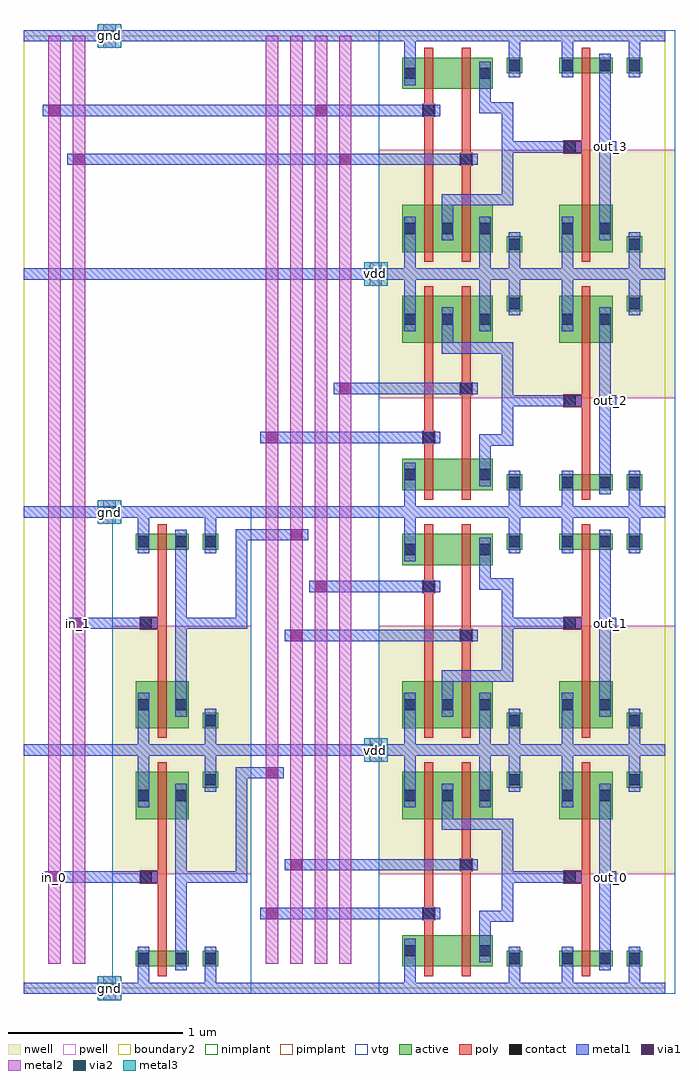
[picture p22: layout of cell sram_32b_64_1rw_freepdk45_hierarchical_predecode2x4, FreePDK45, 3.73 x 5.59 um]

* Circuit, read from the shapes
.subckt sram_32b_64_1rw_freepdk45_hierarchical_predecode2x4 gnd in_0 in_1 out_0 out_1 out_2 out_3 vdd
M1 sram_32b_64_1rw_freepdk45_and2_dec_2/A in_0 gnd gnd nfet w=0.09u l=0.05u
M2 sram_32b_64_1rw_freepdk45_and2_dec_2/B in_1 gnd gnd nfet w=0.09u l=0.05u
M3 sram_32b_64_1rw_freepdk45_and2_dec_2/sram_32b_64_1rw_freepdk45_pnand2_0/sram_32b_64_1rw_freepdk45_nmos_m1_w0_180_sm1_dactive_2/D sram_32b_64_1rw_freepdk45_and2_dec_2/A gnd gnd nfet w=0.18u l=0.05u
M4 sram_32b_64_1rw_freepdk45_and2_dec_3/sram_32b_64_1rw_freepdk45_pnand2_0/sram_32b_64_1rw_freepdk45_nmos_m1_w0_180_sm1_dactive_2/D in_0 gnd gnd nfet w=0.18u l=0.05u
M5 sram_32b_64_1rw_freepdk45_and2_dec_4/sram_32b_64_1rw_freepdk45_pnand2_0/sram_32b_64_1rw_freepdk45_nmos_m1_w0_180_sm1_dactive_2/D sram_32b_64_1rw_freepdk45_and2_dec_2/A gnd gnd nfet w=0.18u l=0.05u
M6 sram_32b_64_1rw_freepdk45_and2_dec_5/sram_32b_64_1rw_freepdk45_pnand2_0/sram_32b_64_1rw_freepdk45_nmos_m1_w0_180_sm1_dactive_2/D in_0 gnd gnd nfet w=0.18u l=0.05u
M7 sram_32b_64_1rw_freepdk45_and2_dec_2/sram_32b_64_1rw_freepdk45_pinv_1/A sram_32b_64_1rw_freepdk45_and2_dec_2/B sram_32b_64_1rw_freepdk45_and2_dec_2/sram_32b_64_1rw_freepdk45_pnand2_0/sram_32b_64_1rw_freepdk45_nmos_m1_w0_180_sm1_dactive_2/D gnd nfet w=0.18u l=0.05u
M8 sram_32b_64_1rw_freepdk45_and2_dec_3/sram_32b_64_1rw_freepdk45_pinv_1/A sram_32b_64_1rw_freepdk45_and2_dec_2/B sram_32b_64_1rw_freepdk45_and2_dec_3/sram_32b_64_1rw_freepdk45_pnand2_0/sram_32b_64_1rw_freepdk45_nmos_m1_w0_180_sm1_dactive_2/D gnd nfet w=0.18u l=0.05u
M9 sram_32b_64_1rw_freepdk45_and2_dec_4/sram_32b_64_1rw_freepdk45_pinv_1/A in_1 sram_32b_64_1rw_freepdk45_and2_dec_4/sram_32b_64_1rw_freepdk45_pnand2_0/sram_32b_64_1rw_freepdk45_nmos_m1_w0_180_sm1_dactive_2/D gnd nfet w=0.18u l=0.05u
M10 sram_32b_64_1rw_freepdk45_and2_dec_5/sram_32b_64_1rw_freepdk45_pinv_1/A in_1 sram_32b_64_1rw_freepdk45_and2_dec_5/sram_32b_64_1rw_freepdk45_pnand2_0/sram_32b_64_1rw_freepdk45_nmos_m1_w0_180_sm1_dactive_2/D gnd nfet w=0.18u l=0.05u
M11 out_0 sram_32b_64_1rw_freepdk45_and2_dec_2/sram_32b_64_1rw_freepdk45_pinv_1/A gnd gnd nfet w=0.09u l=0.05u
M12 out_1 sram_32b_64_1rw_freepdk45_and2_dec_3/sram_32b_64_1rw_freepdk45_pinv_1/A gnd gnd nfet w=0.09u l=0.05u
M13 out_2 sram_32b_64_1rw_freepdk45_and2_dec_4/sram_32b_64_1rw_freepdk45_pinv_1/A gnd gnd nfet w=0.09u l=0.05u
M14 out_3 sram_32b_64_1rw_freepdk45_and2_dec_5/sram_32b_64_1rw_freepdk45_pinv_1/A gnd gnd nfet w=0.09u l=0.05u
M15 sram_32b_64_1rw_freepdk45_and2_dec_2/A in_0 vdd vdd pfet w=0.27u l=0.05u
M16 sram_32b_64_1rw_freepdk45_and2_dec_2/B in_1 vdd vdd pfet w=0.27u l=0.05u
M17 sram_32b_64_1rw_freepdk45_and2_dec_2/sram_32b_64_1rw_freepdk45_pinv_1/A sram_32b_64_1rw_freepdk45_and2_dec_2/A vdd vdd pfet w=0.27u l=0.05u
M18 sram_32b_64_1rw_freepdk45_and2_dec_3/sram_32b_64_1rw_freepdk45_pinv_1/A in_0 vdd vdd pfet w=0.27u l=0.05u
M19 sram_32b_64_1rw_freepdk45_and2_dec_4/sram_32b_64_1rw_freepdk45_pinv_1/A sram_32b_64_1rw_freepdk45_and2_dec_2/A vdd vdd pfet w=0.27u l=0.05u
M20 sram_32b_64_1rw_freepdk45_and2_dec_5/sram_32b_64_1rw_freepdk45_pinv_1/A in_0 vdd vdd pfet w=0.27u l=0.05u
M21 vdd sram_32b_64_1rw_freepdk45_and2_dec_2/B sram_32b_64_1rw_freepdk45_and2_dec_2/sram_32b_64_1rw_freepdk45_pinv_1/A vdd pfet w=0.27u l=0.05u
M22 vdd sram_32b_64_1rw_freepdk45_and2_dec_2/B sram_32b_64_1rw_freepdk45_and2_dec_3/sram_32b_64_1rw_freepdk45_pinv_1/A vdd pfet w=0.27u l=0.05u
M23 vdd in_1 sram_32b_64_1rw_freepdk45_and2_dec_4/sram_32b_64_1rw_freepdk45_pinv_1/A vdd pfet w=0.27u l=0.05u
M24 vdd in_1 sram_32b_64_1rw_freepdk45_and2_dec_5/sram_32b_64_1rw_freepdk45_pinv_1/A vdd pfet w=0.27u l=0.05u
M25 out_0 sram_32b_64_1rw_freepdk45_and2_dec_2/sram_32b_64_1rw_freepdk45_pinv_1/A vdd vdd pfet w=0.27u l=0.05u
M26 out_1 sram_32b_64_1rw_freepdk45_and2_dec_3/sram_32b_64_1rw_freepdk45_pinv_1/A vdd vdd pfet w=0.27u l=0.05u
M27 out_2 sram_32b_64_1rw_freepdk45_and2_dec_4/sram_32b_64_1rw_freepdk45_pinv_1/A vdd vdd pfet w=0.27u l=0.05u
M28 out_3 sram_32b_64_1rw_freepdk45_and2_dec_5/sram_32b_64_1rw_freepdk45_pinv_1/A vdd vdd pfet w=0.27u l=0.05u
.ends

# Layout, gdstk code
import gdstk
lib = gdstk.Library(unit=1e-6, precision=5e-10)
def R(c, l, rs):  # rectangles x0, y0, x1, y1
    for r in rs: c.add(gdstk.rectangle(r[:2], r[2:], *l))
def A(c, l, x, y, w, h, nx, ny, dx, dy):  # array of equal rectangles
    R(c, l, [(x+i*dx, y+j*dy, x+i*dx+w, y+j*dy+h) for i in range(nx) for j in range(ny)])
active = (1, 0)
pwell = (2, 0)
nwell = (3, 0)
nimplant = (4, 0)
pimplant = (5, 0)
vtg = (6, 0)
poly = (9, 0)
contact = (10, 0)
metal1 = (11, 0)
via1 = (12, 0)
metal2 = (13, 0)
via2 = (14, 0)
metal3 = (15, 0)
boundary2 = (239, 0)

sram_32b_64_1rw_freepdk4 = lib.new_cell('sram_32b_64_1rw_freepdk45_contact_11')
R(sram_32b_64_1rw_freepdk4, active, [(0,0.0225,0.09,0.1125)])
R(sram_32b_64_1rw_freepdk4, nwell, [(-0.055,-0.0325,0.145,0.1675)])
R(sram_32b_64_1rw_freepdk4, pimplant, [(0,0.0225,0.09,0.1125)])
R(sram_32b_64_1rw_freepdk4, contact, [(0.0125,0.035,0.0775,0.1)])
R(sram_32b_64_1rw_freepdk4, metal1, [(0.0125,0,0.0775,0.135)])
R(sram_32b_64_1rw_freepdk4, boundary2, [(-0.055,-0.0325,0.145,0.1675)])

c_sram_32b_64_1rw_freepdk4 = lib.new_cell('sram_32b_64_1rw_freepdk45_pmos_m1_w0_270_sm1_dm1_da_p')
R(c_sram_32b_64_1rw_freepdk4, active, [(0,0,0.305,0.27)])
R(c_sram_32b_64_1rw_freepdk4, nwell, [(-0.08,-0.08,0.385,0.35)])
R(c_sram_32b_64_1rw_freepdk4, pimplant, [(0,0,0.305,0.27)])
R(c_sram_32b_64_1rw_freepdk4, vtg, [(-0.08,-0.08,0.385,0.35)])
R(c_sram_32b_64_1rw_freepdk4, poly, [(0.1275,-0.055,0.1775,0.325), (0.1275,-0.055,0.1775,0.325)])
R(c_sram_32b_64_1rw_freepdk4, metal1, [(0.0125,0.0675,0.0775,0.2025), (0.2275,0.0675,0.2925,0.2025)])
R(c_sram_32b_64_1rw_freepdk4, boundary2, [(-0.08,-0.08,0.385,0.35)])
c_sram_32b_64_1rw_freepdk4.add(gdstk.Reference(sram_32b_64_1rw_freepdk4, (0,0.0675)))
c_sram_32b_64_1rw_freepdk4.add(gdstk.Reference(sram_32b_64_1rw_freepdk4, (0.215,0.0675)))
c_sram_32b_64_1rw_freepdk4.add(gdstk.Label('G', (0.1525,0.135), layer=9, texttype=0))
c_sram_32b_64_1rw_freepdk4.add(gdstk.Label('S', (0.045,0.135), layer=11, texttype=0))
c_sram_32b_64_1rw_freepdk4.add(gdstk.Label('D', (0.26,0.135), layer=11, texttype=0))

c_sram_32b_64_1rw_freepdk4_ = lib.new_cell('sram_32b_64_1rw_freepdk45_contact_10')
R(c_sram_32b_64_1rw_freepdk4_, active, [(0,0.0225,0.09,0.1125)])
R(c_sram_32b_64_1rw_freepdk4_, pwell, [(-0.055,-0.0325,0.145,0.1675)])
R(c_sram_32b_64_1rw_freepdk4_, nimplant, [(0,0.0225,0.09,0.1125)])
R(c_sram_32b_64_1rw_freepdk4_, contact, [(0.0125,0.035,0.0775,0.1)])
R(c_sram_32b_64_1rw_freepdk4_, metal1, [(0.0125,0,0.0775,0.135)])
R(c_sram_32b_64_1rw_freepdk4_, boundary2, [(-0.055,-0.0325,0.145,0.1675)])

c_sram_32b_64_1rw_freepdk4__ = lib.new_cell('sram_32b_64_1rw_freepdk45_nmos_m1_w0_090_sm1_dm1_da_p')
R(c_sram_32b_64_1rw_freepdk4__, active, [(0,0,0.305,0.09)])
R(c_sram_32b_64_1rw_freepdk4__, pwell, [(-0.08,-0.08,0.385,0.17)])
R(c_sram_32b_64_1rw_freepdk4__, nimplant, [(0,0,0.305,0.09)])
R(c_sram_32b_64_1rw_freepdk4__, vtg, [(-0.08,-0.08,0.385,0.17)])
R(c_sram_32b_64_1rw_freepdk4__, poly, [(0.1275,-0.055,0.1775,0.145), (0.1275,-0.055,0.1775,0.145)])
R(c_sram_32b_64_1rw_freepdk4__, metal1, [(0.0125,-0.0225,0.0775,0.1125), (0.2275,-0.0225,0.2925,0.1125)])
R(c_sram_32b_64_1rw_freepdk4__, boundary2, [(-0.08,-0.08,0.385,0.17)])
c_sram_32b_64_1rw_freepdk4__.add(gdstk.Reference(c_sram_32b_64_1rw_freepdk4_, (0,-0.0225)))
c_sram_32b_64_1rw_freepdk4__.add(gdstk.Reference(c_sram_32b_64_1rw_freepdk4_, (0.215,-0.0225)))
c_sram_32b_64_1rw_freepdk4__.add(gdstk.Label('G', (0.1525,0.045), layer=9, texttype=0))
c_sram_32b_64_1rw_freepdk4__.add(gdstk.Label('S', (0.045,0.045), layer=11, texttype=0))
c_sram_32b_64_1rw_freepdk4__.add(gdstk.Label('D', (0.26,0.045), layer=11, texttype=0))

c_sram_32b_64_1rw_freepdk4___ = lib.new_cell('sram_32b_64_1rw_freepdk45_contact_12')
R(c_sram_32b_64_1rw_freepdk4___, active, [(0,0.0225,0.09,0.1125)])
R(c_sram_32b_64_1rw_freepdk4___, nwell, [(-0.055,-0.0325,0.145,0.1675)])
R(c_sram_32b_64_1rw_freepdk4___, nimplant, [(0,0.0225,0.09,0.1125)])
R(c_sram_32b_64_1rw_freepdk4___, contact, [(0.0125,0.035,0.0775,0.1)])
R(c_sram_32b_64_1rw_freepdk4___, metal1, [(0.0125,0,0.0775,0.135)])
R(c_sram_32b_64_1rw_freepdk4___, boundary2, [(-0.055,-0.0325,0.145,0.1675)])

c_sram_32b_64_1rw_freepdk4____ = lib.new_cell('sram_32b_64_1rw_freepdk45_contact_13')
R(c_sram_32b_64_1rw_freepdk4____, active, [(0,0.0225,0.09,0.1125)])
R(c_sram_32b_64_1rw_freepdk4____, pwell, [(-0.055,-0.0325,0.145,0.1675)])
R(c_sram_32b_64_1rw_freepdk4____, pimplant, [(0,0.0225,0.09,0.1125)])
R(c_sram_32b_64_1rw_freepdk4____, contact, [(0.0125,0.035,0.0775,0.1)])
R(c_sram_32b_64_1rw_freepdk4____, metal1, [(0.0125,0,0.0775,0.135)])
R(c_sram_32b_64_1rw_freepdk4____, boundary2, [(-0.055,-0.0325,0.145,0.1675)])

c_sram_32b_64_1rw_freepdk4_____ = lib.new_cell('sram_32b_64_1rw_freepdk45_contact_14')
R(c_sram_32b_64_1rw_freepdk4_____, poly, [(0.03,0,0.105,0.075)])
R(c_sram_32b_64_1rw_freepdk4_____, contact, [(0.035,0.005,0.1,0.07)])
R(c_sram_32b_64_1rw_freepdk4_____, metal1, [(0,0.005,0.135,0.07)])
R(c_sram_32b_64_1rw_freepdk4_____, boundary2, [(0,0,0.135,0.075)])

c_sram_32b_64_1rw_freepdk4______ = lib.new_cell('sram_32b_64_1rw_freepdk45_pinv')
R(c_sram_32b_64_1rw_freepdk4______, pwell, [(-0.055,-0.0325,0.7425,0.655)])
R(c_sram_32b_64_1rw_freepdk4______, nwell, [(-0.055,0.655,0.7425,1.4)])
R(c_sram_32b_64_1rw_freepdk4______, vtg, [(-0.055,-0.0325,0.7425,0.655), (-0.055,0.655,0.7425,1.4)])
R(c_sram_32b_64_1rw_freepdk4______, poly, [(0.2075,0.27,0.2575,0.915), (0.14,0.6,0.2075,0.675)])
R(c_sram_32b_64_1rw_freepdk4______, metal1, [(0,-0.0325,0.6875,0.0325), (0.0925,-0.0325,0.1575,0.1025), (0.4775,0,0.5425,0.17), (0.3075,0.1025,0.3725,1.1725), (0.0725,0.605,0.2075,0.67), (0.34,0.605,0.405,0.67), (0.0925,1.0375,0.1575,1.3975), (0.4775,1.195,0.5425,1.365), (0,1.3325,0.6875,1.3975)])
R(c_sram_32b_64_1rw_freepdk4______, boundary2, [(0,0,0.6875,1.365), (0,0,0.6875,1.365)])
c_sram_32b_64_1rw_freepdk4______.add(gdstk.Reference(c_sram_32b_64_1rw_freepdk4, (0.08,0.97)))
c_sram_32b_64_1rw_freepdk4______.add(gdstk.Reference(c_sram_32b_64_1rw_freepdk4__, (0.08,0.125)))
c_sram_32b_64_1rw_freepdk4______.add(gdstk.Reference(c_sram_32b_64_1rw_freepdk4___, (0.465,1.1275)))
c_sram_32b_64_1rw_freepdk4______.add(gdstk.Reference(c_sram_32b_64_1rw_freepdk4____, (0.465,0.1025)))
c_sram_32b_64_1rw_freepdk4______.add(gdstk.Reference(c_sram_32b_64_1rw_freepdk4_____, (0.0725,0.6)))
c_sram_32b_64_1rw_freepdk4______.add(gdstk.Label('A', (0.14,0.6375), layer=11, texttype=0))
c_sram_32b_64_1rw_freepdk4______.add(gdstk.Label('Z', (0.3725,0.6375), layer=11, texttype=0))
c_sram_32b_64_1rw_freepdk4______.add(gdstk.Label('gnd', (0.344,0), layer=11, texttype=0))
c_sram_32b_64_1rw_freepdk4______.add(gdstk.Label('vdd', (0.344,1.365), layer=11, texttype=0))

c_sram_32b_64_1rw_freepdk4_______ = lib.new_cell('sram_32b_64_1rw_freepdk45_pmos_m1_w0_270_sm1_dm1')
R(c_sram_32b_64_1rw_freepdk4_______, active, [(0,0,0.305,0.27)])
R(c_sram_32b_64_1rw_freepdk4_______, nwell, [(-0.08,-0.08,0.385,0.35)])
R(c_sram_32b_64_1rw_freepdk4_______, pimplant, [(0,0,0.305,0.27)])
R(c_sram_32b_64_1rw_freepdk4_______, vtg, [(-0.08,-0.08,0.385,0.35)])
R(c_sram_32b_64_1rw_freepdk4_______, poly, [(0.1275,-0.055,0.1775,0.325), (0.1275,-0.055,0.1775,0.325)])
R(c_sram_32b_64_1rw_freepdk4_______, metal1, [(0.0125,0.0675,0.0775,0.2025), (0.2275,0.0675,0.2925,0.2025)])
R(c_sram_32b_64_1rw_freepdk4_______, boundary2, [(-0.08,-0.08,0.385,0.35)])
c_sram_32b_64_1rw_freepdk4_______.add(gdstk.Reference(sram_32b_64_1rw_freepdk4, (0,0.0675)))
c_sram_32b_64_1rw_freepdk4_______.add(gdstk.Reference(sram_32b_64_1rw_freepdk4, (0.215,0.0675)))
c_sram_32b_64_1rw_freepdk4_______.add(gdstk.Label('G', (0.1525,0.135), layer=9, texttype=0))
c_sram_32b_64_1rw_freepdk4_______.add(gdstk.Label('S', (0.045,0.135), layer=11, texttype=0))
c_sram_32b_64_1rw_freepdk4_______.add(gdstk.Label('D', (0.26,0.135), layer=11, texttype=0))

c_sram_32b_64_1rw_freepdk4________ = lib.new_cell('sram_32b_64_1rw_freepdk45_nmos_m1_w0_180_sm1_dactive')
R(c_sram_32b_64_1rw_freepdk4________, active, [(0,0,0.305,0.18), (0.215,0.045,0.305,0.135)])
R(c_sram_32b_64_1rw_freepdk4________, pwell, [(-0.08,-0.08,0.385,0.26)])
R(c_sram_32b_64_1rw_freepdk4________, nimplant, [(0,0,0.305,0.18)])
R(c_sram_32b_64_1rw_freepdk4________, vtg, [(-0.08,-0.08,0.385,0.26)])
R(c_sram_32b_64_1rw_freepdk4________, poly, [(0.1275,-0.055,0.1775,0.235), (0.1275,-0.055,0.1775,0.235)])
R(c_sram_32b_64_1rw_freepdk4________, metal1, [(0.0125,0.0225,0.0775,0.1575)])
R(c_sram_32b_64_1rw_freepdk4________, boundary2, [(-0.08,-0.08,0.385,0.26)])
c_sram_32b_64_1rw_freepdk4________.add(gdstk.Reference(c_sram_32b_64_1rw_freepdk4_, (0,0.0225)))
c_sram_32b_64_1rw_freepdk4________.add(gdstk.Label('G', (0.1525,0.09), layer=9, texttype=0))
c_sram_32b_64_1rw_freepdk4________.add(gdstk.Label('S', (0.045,0.09), layer=11, texttype=0))
c_sram_32b_64_1rw_freepdk4________.add(gdstk.Label('D', (0.26,0.09), layer=1, texttype=0))

c_sram_32b_64_1rw_freepdk4_________ = lib.new_cell('sram_32b_64_1rw_freepdk45_nmos_m1_w0_180_sactive_dm1')
R(c_sram_32b_64_1rw_freepdk4_________, active, [(0,0,0.305,0.18), (0,0.045,0.09,0.135)])
R(c_sram_32b_64_1rw_freepdk4_________, pwell, [(-0.08,-0.08,0.385,0.26)])
R(c_sram_32b_64_1rw_freepdk4_________, nimplant, [(0,0,0.305,0.18)])
R(c_sram_32b_64_1rw_freepdk4_________, vtg, [(-0.08,-0.08,0.385,0.26)])
R(c_sram_32b_64_1rw_freepdk4_________, poly, [(0.1275,-0.055,0.1775,0.235), (0.1275,-0.055,0.1775,0.235)])
R(c_sram_32b_64_1rw_freepdk4_________, metal1, [(0.2275,0.0225,0.2925,0.1575)])
R(c_sram_32b_64_1rw_freepdk4_________, boundary2, [(-0.08,-0.08,0.385,0.26)])
c_sram_32b_64_1rw_freepdk4_________.add(gdstk.Reference(c_sram_32b_64_1rw_freepdk4_, (0.215,0.0225)))
c_sram_32b_64_1rw_freepdk4_________.add(gdstk.Label('G', (0.1525,0.09), layer=9, texttype=0))
c_sram_32b_64_1rw_freepdk4_________.add(gdstk.Label('S', (0.045,0.09), layer=1, texttype=0))
c_sram_32b_64_1rw_freepdk4_________.add(gdstk.Label('D', (0.26,0.09), layer=11, texttype=0))

c_sram_32b_64_1rw_freepdk4__________ = lib.new_cell('sram_32b_64_1rw_freepdk45_pnand2')
R(c_sram_32b_64_1rw_freepdk4__________, pwell, [(-0.055,-0.0325,0.9575,0.655)])
R(c_sram_32b_64_1rw_freepdk4__________, nwell, [(-0.055,0.655,0.9575,1.4)])
R(c_sram_32b_64_1rw_freepdk4__________, vtg, [(-0.055,-0.0325,0.9575,0.655), (-0.055,0.655,0.9575,1.4)])
R(c_sram_32b_64_1rw_freepdk4__________, poly, [(0.2075,0.36,0.2575,0.915), (0.4225,0.36,0.4725,0.915), (0.2075,0.39,0.2325,0.465), (0.4225,0.67,0.4475,0.745)])
R(c_sram_32b_64_1rw_freepdk4__________, metal1, [(0,-0.0325,0.9025,0.0325), (0.0925,-0.0325,0.1575,0.1475), (0.6925,0,0.7575,0.17), (0.5225,0.2825,0.5875,0.4125), (0.5225,0.38,0.5875,0.445), (0.555,0.38,0.685,0.445), (0.6525,0.38,0.7175,0.445), (0.165,0.395,0.3,0.46), (0.6525,0.4125,0.7175,0.94), (0.38,0.675,0.515,0.74), (0.3075,0.9075,0.3725,0.9725), (0.34,0.9075,0.685,0.9725), (0.6525,0.9075,0.7175,0.9725), (0.3075,0.94,0.3725,1.0375), (0.0925,1.0375,0.1575,1.3975), (0.5225,1.0375,0.5875,1.3975), (0.6925,1.195,0.7575,1.365), (0,1.3325,0.9025,1.3975)])
R(c_sram_32b_64_1rw_freepdk4__________, boundary2, [(0,0,0.9025,1.365), (0,0,0.9025,1.365)])
c_sram_32b_64_1rw_freepdk4__________.add(gdstk.Reference(c_sram_32b_64_1rw_freepdk4_______, (0.08,0.97)))
c_sram_32b_64_1rw_freepdk4__________.add(gdstk.Reference(c_sram_32b_64_1rw_freepdk4_______, (0.295,0.97)))
c_sram_32b_64_1rw_freepdk4__________.add(gdstk.Reference(c_sram_32b_64_1rw_freepdk4________, (0.08,0.125)))
c_sram_32b_64_1rw_freepdk4__________.add(gdstk.Reference(c_sram_32b_64_1rw_freepdk4_________, (0.295,0.125)))
c_sram_32b_64_1rw_freepdk4__________.add(gdstk.Reference(c_sram_32b_64_1rw_freepdk4___, (0.68,1.1275)))
c_sram_32b_64_1rw_freepdk4__________.add(gdstk.Reference(c_sram_32b_64_1rw_freepdk4____, (0.68,0.1025)))
c_sram_32b_64_1rw_freepdk4__________.add(gdstk.Reference(c_sram_32b_64_1rw_freepdk4_____, (0.165,0.39)))
c_sram_32b_64_1rw_freepdk4__________.add(gdstk.Reference(c_sram_32b_64_1rw_freepdk4_____, (0.38,0.67)))
c_sram_32b_64_1rw_freepdk4__________.add(gdstk.Label('Z', (0.685,0.94), layer=11, texttype=0))
c_sram_32b_64_1rw_freepdk4__________.add(gdstk.Label('gnd', (0.451,0), layer=11, texttype=0))
c_sram_32b_64_1rw_freepdk4__________.add(gdstk.Label('vdd', (0.451,1.365), layer=11, texttype=0))
c_sram_32b_64_1rw_freepdk4__________.add(gdstk.Label('A', (0.2325,0.4275), layer=11, texttype=0))
c_sram_32b_64_1rw_freepdk4__________.add(gdstk.Label('B', (0.4475,0.7075), layer=11, texttype=0))

c_sram_32b_64_1rw_freepdk4___________ = lib.new_cell('sram_32b_64_1rw_freepdk45_and2_dec')
R(c_sram_32b_64_1rw_freepdk4___________, metal1, [(0,-0.0325,1.59,0.0325), (0.165,0.395,0.3,0.46), (0.6525,0.605,0.7175,0.67), (0.685,0.605,1.0425,0.67), (1.2425,0.605,1.3075,0.67), (0.6525,0.6375,0.7175,0.94), (0.38,0.675,0.515,0.74), (0,1.3325,1.59,1.3975)])
R(c_sram_32b_64_1rw_freepdk4___________, boundary2, [(0,0,1.59,1.365)])
c_sram_32b_64_1rw_freepdk4___________.add(gdstk.Reference(c_sram_32b_64_1rw_freepdk4__________, (0,0)))
c_sram_32b_64_1rw_freepdk4___________.add(gdstk.Reference(c_sram_32b_64_1rw_freepdk4______, (0.9025,0)))
c_sram_32b_64_1rw_freepdk4___________.add(gdstk.Label('Z', (1.275,0.6375), layer=11, texttype=0))
c_sram_32b_64_1rw_freepdk4___________.add(gdstk.Label('A', (0.2325,0.4275), layer=11, texttype=0))
c_sram_32b_64_1rw_freepdk4___________.add(gdstk.Label('B', (0.4475,0.7075), layer=11, texttype=0))
c_sram_32b_64_1rw_freepdk4___________.add(gdstk.Label('gnd', (0.795,0), layer=11, texttype=0))
c_sram_32b_64_1rw_freepdk4___________.add(gdstk.Label('vdd', (0.795,1.365), layer=11, texttype=0))

c_sram_32b_64_1rw_freepdk4____________ = lib.new_cell('sram_32b_64_1rw_freepdk45_contact_15')
R(c_sram_32b_64_1rw_freepdk4____________, metal1, [(0,0.035,0.135,0.1)])
R(c_sram_32b_64_1rw_freepdk4____________, via1, [(0.035,0.035,0.1,0.1)])
R(c_sram_32b_64_1rw_freepdk4____________, metal2, [(0.0325,0,0.1025,0.135)])
R(c_sram_32b_64_1rw_freepdk4____________, boundary2, [(0,0,0.135,0.135)])

c_sram_32b_64_1rw_freepdk4_____________ = lib.new_cell('sram_32b_64_1rw_freepdk45_contact_17')
R(c_sram_32b_64_1rw_freepdk4_____________, metal1, [(0,0.035,0.135,0.1)])
R(c_sram_32b_64_1rw_freepdk4_____________, via1, [(0.035,0.035,0.1,0.1)])
R(c_sram_32b_64_1rw_freepdk4_____________, metal2, [(0.0325,0,0.1025,0.135)])
R(c_sram_32b_64_1rw_freepdk4_____________, boundary2, [(0,0,0.135,0.135)])

c_sram_32b_64_1rw_freepdk4______________ = lib.new_cell('sram_32b_64_1rw_freepdk45_contact_18')
R(c_sram_32b_64_1rw_freepdk4______________, metal2, [(0.0325,0,0.1025,0.135)])
R(c_sram_32b_64_1rw_freepdk4______________, via2, [(0.035,0.035,0.1,0.1)])
R(c_sram_32b_64_1rw_freepdk4______________, metal3, [(0,0.0325,0.135,0.1025)])
R(c_sram_32b_64_1rw_freepdk4______________, boundary2, [(0,0,0.135,0.135)])

c_sram_32b_64_1rw_freepdk4_______________ = lib.new_cell('sram_32b_64_1rw_freepdk45_hierarchical_predecode2x4')
R(c_sram_32b_64_1rw_freepdk4_______________, metal1, [(0,-0.0325,3.6775,0.0325), (1.4225,0.395,2.32,0.46), (2.2875,0.395,2.3525,0.46), (0.175,0.605,0.7,0.67), (0.6675,0.605,0.7325,0.67), (0.9325,0.605,0.9975,0.67), (0.965,0.605,1.2475,0.67), (1.215,0.605,1.28,0.67), (3.33,0.605,3.395,0.67), (1.215,0.6375,1.28,1.235), (1.5625,0.675,2.535,0.74), (2.5025,0.675,2.5675,0.74), (1.215,1.2025,1.28,1.2675), (1.2475,1.2025,1.4225,1.2675), (0,1.3325,3.6775,1.3975), (0,1.3325,3.6775,1.3975), (1.5625,1.99,2.535,2.055), (2.5025,1.99,2.5675,2.055), (0.315,2.06,0.7,2.125), (0.6675,2.06,0.7325,2.125), (0.9325,2.06,0.9975,2.125), (0.965,2.06,1.2475,2.125), (1.215,2.06,1.28,2.125), (3.33,2.06,3.395,2.125), (1.215,2.0925,1.28,2.6), (1.7025,2.27,2.32,2.335), (2.2875,2.27,2.3525,2.335), (1.215,2.5675,1.28,2.6325), (1.2475,2.5675,1.5625,2.6325), (0,2.6975,3.6775,2.7625), (0,2.6975,3.6775,2.7625), (1.4225,3.125,2.32,3.19), (2.2875,3.125,2.3525,3.19), (3.33,3.335,3.395,3.4), (1.8425,3.405,2.535,3.47), (2.5025,3.405,2.5675,3.47), (0,4.0625,3.6775,4.1275), (0,4.0625,3.6775,4.1275), (0.315,4.72,1.8425,4.785), (1.8425,4.72,2.535,4.785), (2.5025,4.72,2.5675,4.785), (3.33,4.79,3.395,4.855), (0.175,5,1.7025,5.065), (1.7025,5,2.32,5.065), (2.2875,5,2.3525,5.065), (0,5.4275,3.6775,5.4925)])
A(c_sram_32b_64_1rw_freepdk4_______________, metal2, 1.3875, 0.14, 0.07, 5.32, 4, 1, 0.14, 0)
R(c_sram_32b_64_1rw_freepdk4_______________, metal2, [(0.14,0.14,0.21,5.46), (0.28,0.14,0.35,5.46), (0.14,0.57,0.21,0.705), (0.28,2.025,0.35,2.16)])
A(c_sram_32b_64_1rw_freepdk4_______________, metal3, 0.4225, -0.0675, 0.135, 0.135, 1, 3, 0, 2.73)
R(c_sram_32b_64_1rw_freepdk4_______________, metal3, [(1.95,1.2975,2.085,1.4325), (1.95,4.0275,2.085,4.1625)])
R(c_sram_32b_64_1rw_freepdk4_______________, boundary2, [(0,0,3.6775,5.46)])
c_sram_32b_64_1rw_freepdk4_______________.add(gdstk.Reference(c_sram_32b_64_1rw_freepdk4______, (0.56,0)))
c_sram_32b_64_1rw_freepdk4_______________.add(gdstk.Reference(c_sram_32b_64_1rw_freepdk4______, (0.56,2.73), x_reflection=True))
c_sram_32b_64_1rw_freepdk4_______________.add(gdstk.Reference(c_sram_32b_64_1rw_freepdk4___________, (2.0875,0)))
c_sram_32b_64_1rw_freepdk4_______________.add(gdstk.Reference(c_sram_32b_64_1rw_freepdk4___________, (2.0875,2.73), x_reflection=True))
c_sram_32b_64_1rw_freepdk4_______________.add(gdstk.Reference(c_sram_32b_64_1rw_freepdk4___________, (2.0875,2.73)))
c_sram_32b_64_1rw_freepdk4_______________.add(gdstk.Reference(c_sram_32b_64_1rw_freepdk4___________, (2.0875,5.46), x_reflection=True))
c_sram_32b_64_1rw_freepdk4_______________.add(gdstk.Reference(c_sram_32b_64_1rw_freepdk4____________, (0.1075,0.57)))
c_sram_32b_64_1rw_freepdk4_______________.add(gdstk.Reference(c_sram_32b_64_1rw_freepdk4____________, (0.2475,2.025)))
c_sram_32b_64_1rw_freepdk4_______________.add(gdstk.Reference(c_sram_32b_64_1rw_freepdk4____________, (1.355,0.36)))
c_sram_32b_64_1rw_freepdk4_______________.add(gdstk.Reference(c_sram_32b_64_1rw_freepdk4____________, (1.495,0.64)))
c_sram_32b_64_1rw_freepdk4_______________.add(gdstk.Reference(c_sram_32b_64_1rw_freepdk4____________, (1.635,2.235)))
c_sram_32b_64_1rw_freepdk4_______________.add(gdstk.Reference(c_sram_32b_64_1rw_freepdk4____________, (1.495,1.955)))
c_sram_32b_64_1rw_freepdk4_______________.add(gdstk.Reference(c_sram_32b_64_1rw_freepdk4____________, (1.355,3.09)))
c_sram_32b_64_1rw_freepdk4_______________.add(gdstk.Reference(c_sram_32b_64_1rw_freepdk4____________, (1.775,3.37)))
c_sram_32b_64_1rw_freepdk4_______________.add(gdstk.Reference(c_sram_32b_64_1rw_freepdk4____________, (1.635,4.965)))
c_sram_32b_64_1rw_freepdk4_______________.add(gdstk.Reference(c_sram_32b_64_1rw_freepdk4____________, (1.775,4.685)))
c_sram_32b_64_1rw_freepdk4_______________.add(gdstk.Reference(c_sram_32b_64_1rw_freepdk4____________, (1.355,1.1675)))
c_sram_32b_64_1rw_freepdk4_______________.add(gdstk.Reference(c_sram_32b_64_1rw_freepdk4____________, (1.495,2.5325)))
c_sram_32b_64_1rw_freepdk4_______________.add(gdstk.Reference(c_sram_32b_64_1rw_freepdk4_____________, (0.1075,4.965)))
c_sram_32b_64_1rw_freepdk4_______________.add(gdstk.Reference(c_sram_32b_64_1rw_freepdk4_____________, (1.635,4.965)))
c_sram_32b_64_1rw_freepdk4_______________.add(gdstk.Reference(c_sram_32b_64_1rw_freepdk4_____________, (0.2475,4.685)))
c_sram_32b_64_1rw_freepdk4_______________.add(gdstk.Reference(c_sram_32b_64_1rw_freepdk4_____________, (1.775,4.685)))
c_sram_32b_64_1rw_freepdk4_______________.add(gdstk.Reference(c_sram_32b_64_1rw_freepdk4_____________, (1.95,1.2975)))
c_sram_32b_64_1rw_freepdk4_______________.add(gdstk.Reference(c_sram_32b_64_1rw_freepdk4______________, (1.95,1.2975)))
c_sram_32b_64_1rw_freepdk4_______________.add(gdstk.Reference(c_sram_32b_64_1rw_freepdk4_____________, (0.4225,-0.0675)))
c_sram_32b_64_1rw_freepdk4_______________.add(gdstk.Reference(c_sram_32b_64_1rw_freepdk4______________, (0.4225,-0.0675)))
c_sram_32b_64_1rw_freepdk4_______________.add(gdstk.Reference(c_sram_32b_64_1rw_freepdk4_____________, (1.95,1.2975)))
c_sram_32b_64_1rw_freepdk4_______________.add(gdstk.Reference(c_sram_32b_64_1rw_freepdk4______________, (1.95,1.2975)))
c_sram_32b_64_1rw_freepdk4_______________.add(gdstk.Reference(c_sram_32b_64_1rw_freepdk4_____________, (0.4225,2.6625)))
c_sram_32b_64_1rw_freepdk4_______________.add(gdstk.Reference(c_sram_32b_64_1rw_freepdk4______________, (0.4225,2.6625)))
c_sram_32b_64_1rw_freepdk4_______________.add(gdstk.Reference(c_sram_32b_64_1rw_freepdk4_____________, (1.95,4.0275)))
c_sram_32b_64_1rw_freepdk4_______________.add(gdstk.Reference(c_sram_32b_64_1rw_freepdk4______________, (1.95,4.0275)))
c_sram_32b_64_1rw_freepdk4_______________.add(gdstk.Reference(c_sram_32b_64_1rw_freepdk4_____________, (0.4225,2.6625)))
c_sram_32b_64_1rw_freepdk4_______________.add(gdstk.Reference(c_sram_32b_64_1rw_freepdk4______________, (0.4225,2.6625)))
c_sram_32b_64_1rw_freepdk4_______________.add(gdstk.Reference(c_sram_32b_64_1rw_freepdk4_____________, (1.95,4.0275)))
c_sram_32b_64_1rw_freepdk4_______________.add(gdstk.Reference(c_sram_32b_64_1rw_freepdk4______________, (1.95,4.0275)))
c_sram_32b_64_1rw_freepdk4_______________.add(gdstk.Reference(c_sram_32b_64_1rw_freepdk4_____________, (0.4225,5.3925)))
c_sram_32b_64_1rw_freepdk4_______________.add(gdstk.Reference(c_sram_32b_64_1rw_freepdk4______________, (0.4225,5.3925)))
c_sram_32b_64_1rw_freepdk4_______________.add(gdstk.Label('in_0', (0.175,0.6375), layer=13, texttype=0))
c_sram_32b_64_1rw_freepdk4_______________.add(gdstk.Label('in_1', (0.315,2.0925), layer=13, texttype=0))
c_sram_32b_64_1rw_freepdk4_______________.add(gdstk.Label('out_0', (3.3625,0.6375), layer=11, texttype=0))
c_sram_32b_64_1rw_freepdk4_______________.add(gdstk.Label('out_1', (3.3625,2.0925), layer=11, texttype=0))
c_sram_32b_64_1rw_freepdk4_______________.add(gdstk.Label('out_2', (3.3625,3.3675), layer=11, texttype=0))
c_sram_32b_64_1rw_freepdk4_______________.add(gdstk.Label('out_3', (3.3625,4.8225), layer=11, texttype=0))
c_sram_32b_64_1rw_freepdk4_______________.add(gdstk.Label('vdd', (2.0175,1.365), layer=15, texttype=0))
c_sram_32b_64_1rw_freepdk4_______________.add(gdstk.Label('vdd', (2.0175,4.095), layer=15, texttype=0))
c_sram_32b_64_1rw_freepdk4_______________.add(gdstk.Label('gnd', (0.49,0), layer=15, texttype=0))
c_sram_32b_64_1rw_freepdk4_______________.add(gdstk.Label('gnd', (0.49,5.46), layer=15, texttype=0))
c_sram_32b_64_1rw_freepdk4_______________.add(gdstk.Label('gnd', (0.49,2.73), layer=15, texttype=0))

lib.write_gds('sram_32b_64_1rw_freepdk45_hierarchical_predecode2x4.gds')
